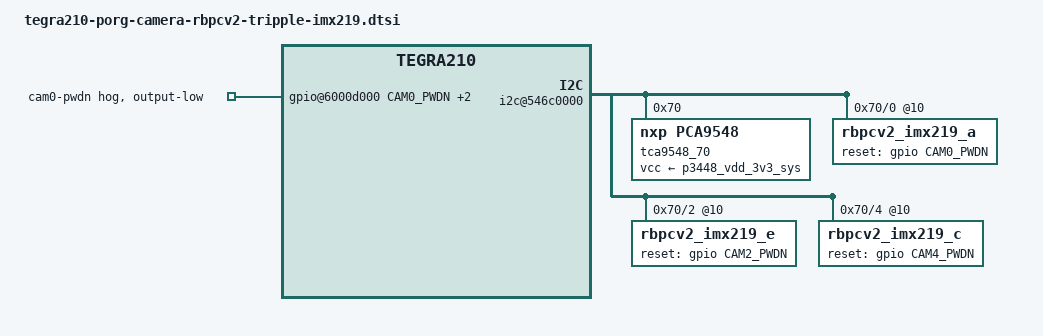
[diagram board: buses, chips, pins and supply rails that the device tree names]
/*
 * Copyright (c) 2018-2019, NVIDIA CORPORATION.  All rights reserved.
 *
 * This program is free software; you can redistribute it and/or modify
 * it under the terms of the GNU General Public License as published by
 * the Free Software Foundation; either version 2 of the License, or
 * (at your option) any later version.
 *
 * This program is distributed in the hope that it will be useful, but WITHOUT
 * ANY WARRANTY; without even the implied warranty of MERCHANTABILITY or
 * FITNESS FOR A PARTICULAR PURPOSE.  See the GNU General Public License for
 * more details.
 *
 * You should have received a copy of the GNU General Public License
 * along with this program.  If not, see <http://www.gnu.org/licenses/>.
 */

#include "tegra210-camera-rbpcv2-tripple-imx219.dtsi"

#define CAM0_PWDN		TEGRA_GPIO(S, 7) // CAM0_PWD
#define CAM1_PWDN       TEGRA_GPIO(T, 0) // CAM1_PWD
#define CAM2_PWDN		TEGRA_GPIO(I, 2) // GPIO3
#define CAM3_PWDN       TEGRA_GPIO(H, 7) // GPIO5
#define CAM4_PWDN       TEGRA_GPIO(I, 1) // GPIO4
#define CAM5_PWDN       TEGRA_GPIO(I, 0) // GPIO6
#define CAMERA_I2C_MUX_BUS(x) (0x1E + x)

/ {

    host1x {
		i2c@546c0000 {
		    status = "okay";
            tca9548_70: tca9548@70 {
                status = "okay";
                compatible = "nxp,pca9548";
                reg = <0x70>;
                #address-cells = <1>;
                #size-cells = <0>;
                vcc-supply = <&p3448_vdd_3v3_sys>;
                skip_mux_detect;
                force_bus_start = <CAMERA_I2C_MUX_BUS(0)>;
                i2c@0 {
                    status = "okay";
                    reg = <0>;
                    i2c-mux,deselect-on-exit;
                    #address-cells = <1>;
                    #size-cells = <0>;
                    rbpcv2_imx219_a@10 {
                        status = "okay";
                        reset-gpios = <&gpio CAM0_PWDN GPIO_ACTIVE_HIGH>;
                    };
                };
                i2c@2 {
                    status = "okay";
                    reg = <2>;
                    i2c-mux,deselect-on-exit;
                    #address-cells = <1>;
                    #size-cells = <0>;
                    rbpcv2_imx219_e@10 {
                        status = "okay";
                        reset-gpios = <&gpio CAM2_PWDN GPIO_ACTIVE_HIGH>;
                    };
                };
                i2c@4 {
                    status = "okay";
                    reg = <4>;
                    i2c-mux,deselect-on-exit;
                    #address-cells = <1>;
                    #size-cells = <0>;
                    rbpcv2_imx219_c@10 {
                        status = "okay";
                        reset-gpios = <&gpio CAM4_PWDN GPIO_ACTIVE_HIGH>;
                    };
                };
            };
        };
    };

	gpio@6000d000 {
	    status = "okay";
		camera-control-output-low {
		    status = "okay";
			gpio-hog;
			output-low;
			gpios = <CAM0_PWDN 0 CAM2_PWDN 0 CAM4_PWDN 0>;
			label = "cam0-pwdn", "cam2-pwdn", "cam4-pwdn";
		};
	};
};
